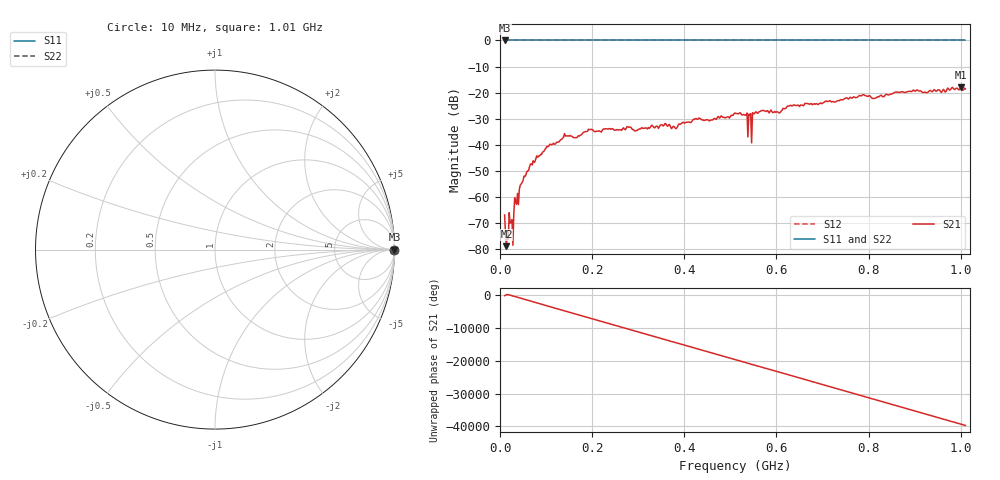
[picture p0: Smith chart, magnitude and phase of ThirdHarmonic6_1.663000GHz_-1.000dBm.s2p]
! 8/16/2025 7:55:59 PM
! C:\ANRITSUVNA\TEMP\TEMP.S2P
! CHANNEL.1
! TR.MEASUREMENT
! RAW.DATA
! RF.CORRECTION.OFF
! AVERAGING.OFF
! IF.BANDWIDTH: 5KHZ
! SWEEPTYPE:  FREQ.SWEEP(Linear)
! Reference Plane Port Info
! PORT:  PORT1  PORT2
! DISTANCE:  0  m  0  m
! TIME:  0  s  0  s
! PHASE.OFFSET:  0  deg.  0  deg.
! LOSS:  0  dB  0  dB
! REF.LOSS:  0  dB  0  dB
! REF.FREQ:  0  Hz  0  Hz
! Power Info
! POWER:  -20  dBm  -20  dBm
! EFF.POWER:  -20  dBm  -20  dBm
! SOURCE.ATTEN:  0  dB  0  dB
! TEST.ATTEN:  0  dB  0  dB
# GHZ S RI R 50.0
! FREQ.GHZ  S11RE  S11IM  S21RE  S21IM  S12RE  S12IM  S22RE  S22IM
!; PortSelection: Port_12
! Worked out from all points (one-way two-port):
!   501 points, 10 MHz to 1.01 GHz, reference 50 ohm
!   highest |S21| = -17.91 dB at 1 GHz (marker M1); lowest = -78.9 dB at 14 MHz (marker M2)
!   lowest |S11| = 0.0 dB at 10 MHz (marker M3)
!   |S11| at or under -10 dB: nowhere
!   |S22| runs from 0.0 to 0.0 dB; largest |S21 - S12| = 1.1
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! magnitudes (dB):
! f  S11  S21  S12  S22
! 10 MHz  0.0  -66.9  0.0  0.0
! 14 MHz  0.0  -78.9  0.0  0.0
! 22 MHz  0.0  -70.1  0.0  0.0
! 26 MHz  0.0  -68.7  0.0  0.0
! 32 MHz  0.0  -60.3  0.0  0.0
! 34 MHz  0.0  -61.8  0.0  0.0
! 46 MHz  0.0  -55.0  0.0  0.0
! 68 MHz  0.0  -47.4  0.0  0.0
! 104 MHz  0.0  -40.7  0.0  0.0
! 140 MHz  0.0  -35.7  0.0  0.0
! 178 MHz  0.0  -35.8  0.0  0.0
! 344 MHz  0.0  -33.7  0.0  0.0
! 510 MHz  0.0  -27.8  0.0  0.0
! 532 MHz  0.0  -28.7  0.0  0.0
! 540 MHz  0.0  -28.3  0.0  0.0
! 542 MHz  0.0  -28.6  0.0  0.0
! 550 MHz  0.0  -28.0  0.0  0.0
! 552 MHz  0.0  -28.1  0.0  0.0
! 678 MHz  0.0  -24.7  0.0  0.0
! 844 MHz  0.0  -20.9  0.0  0.0
! 1 GHz  0.0  -17.9  0.0  0.0
! 1.01 GHz  0.0  -18.6  0.0  0.0
